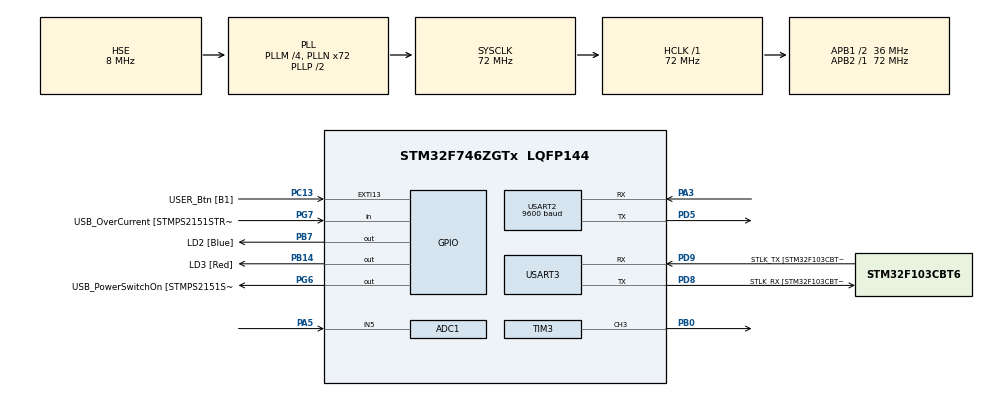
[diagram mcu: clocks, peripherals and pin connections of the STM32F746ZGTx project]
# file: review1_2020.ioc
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ADC1.Channel-1\#ChannelRegularConversion=ADC_CHANNEL_5
ADC1.DiscontinuousConvMode=ENABLE
ADC1.NbrOfConversionFlag=1
ADC1.Rank-1\#ChannelRegularConversion=1
ADC1.SamplingTime-1\#ChannelRegularConversion=ADC_SAMPLETIME_3CYCLES
ADC1.ScanConvMode=ADC_SCAN_ENABLE
ADC1.master=1
Mcu.Family=STM32F7
Mcu.Name=STM32F746ZGTx
Mcu.Package=LQFP144
NVIC.PriorityGroup=NVIC_PRIORITYGROUP_4
NVIC.TIM2_IRQn=true\:0\:0\:false\:false\:true\:true\:true
PA1.GPIO_Label=RMII_REF_CLK [LAN8742A-CZ-TR_REFCLK0]
PA1.Signal=ETH_REF_CLK
PA10.GPIO_Label=USB_ID
PA10.Signal=USB_OTG_FS_ID
PA11.GPIO_Label=USB_DM
PA11.Signal=USB_OTG_FS_DM
PA12.GPIO_Label=USB_DP
PA12.Signal=USB_OTG_FS_DP
PA13.GPIO_Label=TMS
PA13.Mode=Serial_Wire
PA13.Signal=SYS_JTMS-SWDIO
PA14.GPIO_Label=TCK
PA14.Mode=Serial_Wire
PA14.Signal=SYS_JTCK-SWCLK
PA2.GPIO_Label=RMII_MDIO [LAN8742A-CZ-TR_MDIO]
PA2.Signal=ETH_MDIO
PA3.Mode=Asynchronous
PA3.Signal=USART2_RX
PA5.Signal=ADCx_IN5
PA7.GPIO_Label=RMII_CRS_DV [LAN8742A-CZ-TR_CRS_DV]
PA7.Signal=ETH_CRS_DV
PA8.GPIO_Label=USB_SOF [TP1]
PA8.Signal=USB_OTG_FS_SOF
PA9.GPIO_Label=USB_VBUS
PA9.Signal=USB_OTG_FS_VBUS
PB0.Signal=S_TIM3_CH3
PB13.GPIO_Label=RMII_TXD1 [LAN8742A-CZ-TR_TXD1]
PB13.Signal=ETH_TXD1
PB14.GPIO_Label=LD3 [Red]
PB14.Signal=GPIO_Output
PB3.GPIO_Label=SW0
PB3.Signal=SYS_JTDO-SWO
PB7.GPIO_Label=LD2 [Blue]
PB7.Signal=GPIO_Output
PC1.GPIO_Label=RMII_MDC [LAN8742A-CZ-TR_MDC]
PC1.Signal=ETH_MDC
PC13.GPIO_Label=USER_Btn [B1]
PC13.Signal=GPXTI13
PC14/OSC32_IN.Mode=LSE-External-Oscillator
PC14/OSC32_IN.Signal=RCC_OSC32_IN
PC15/OSC32_OUT.Mode=LSE-External-Oscillator
PC15/OSC32_OUT.Signal=RCC_OSC32_OUT
PC4.GPIO_Label=RMII_RXD0 [LAN8742A-CZ-TR_RXD0]
PC4.Signal=ETH_RXD0
PC5.GPIO_Label=RMII_RXD1 [LAN8742A-CZ-TR_RXD1]
PC5.Signal=ETH_RXD1
PD5.Mode=Asynchronous
PD5.Signal=USART2_TX
PD8.GPIO_Label=STLK_RX [STM32F103CBT6_PA3]
PD8.Mode=Asynchronous
PD8.Signal=USART3_TX
PD9.GPIO_Label=STLK_TX [STM32F103CBT6_PA2]
PD9.Mode=Asynchronous
PD9.Signal=USART3_RX
PG11.GPIO_Label=RMII_TX_EN [LAN8742A-CZ-TR_TXEN]
PG11.Signal=ETH_TX_EN
PG13.GPIO_Label=RMII_TXD0 [LAN8742A-CZ-TR_TXD0]
PG13.Signal=ETH_TXD0
PG6.GPIO_Label=USB_PowerSwitchOn [STMPS2151STR_EN]
PG6.Signal=GPIO_Output
PG7.GPIO_Label=USB_OverCurrent [STMPS2151STR_FAULT]
PG7.Signal=GPIO_Input
PH0/OSC_IN.GPIO_Label=MCO [STM32F103CBT6_PA8]
PH0/OSC_IN.Mode=HSE-External-Clock-Source
PH0/OSC_IN.Signal=RCC_OSC_IN
PH1/OSC_OUT.Mode=HSE-External-Clock-Source
PH1/OSC_OUT.Signal=RCC_OSC_OUT
ProjectManager.HeapSize=0x200
ProjectManager.StackSize=0x400
ProjectManager.TargetToolchain=STM32CubeIDE
RCC.48MHZClocksFreq_Value=24000000
RCC.AHBFreq_Value=72000000
RCC.APB1CLKDivider=RCC_HCLK_DIV2
RCC.APB1Freq_Value=36000000
RCC.APB1TimFreq_Value=72000000
RCC.APB2Freq_Value=72000000
RCC.APB2TimFreq_Value=72000000
RCC.CortexFreq_Value=72000000
RCC.HCLKFreq_Value=72000000
RCC.HSE_VALUE=8000000
RCC.HSI_VALUE=16000000
RCC.PLLM=4
RCC.PLLMUL=RCC_PLL_MUL9
RCC.PLLN=72
RCC.PLLQ=3
RCC.PLLSourceVirtual=RCC_PLLSOURCE_HSE
RCC.PRESCALERUSB=RCC_USBCLKSOURCE_PLL_DIV1_5
RCC.SYSCLKFreq_VALUE=72000000
RCC.SYSCLKSource=RCC_SYSCLKSOURCE_PLLCLK
RCC.SYSCLKSourceVirtual=RCC_SYSCLKSOURCE_PLLCLK
RCC.USBFreq_Value=48000000
RCC.VCOOutputFreq_Value=144000000
SH.ADCx_IN5.0=ADC1_IN5,IN5
SH.S_TIM3_CH3.0=TIM3_CH3,PWM Generation3 CH3
TIM2.Period=99999
TIM2.Prescaler=71
TIM3.Channel-PWM\ Generation3\ CH3=TIM_CHANNEL_3
TIM3.Period=999
TIM3.Prescaler=71
USART2.BaudRate=9600
USART2.VirtualMode-Asynchronous=VM_ASYNC
USART3.VirtualMode-Asynchronous=VM_ASYNC
VP_TIM2_VS_ClockSourceINT.Mode=Internal
board=NUCLEO-F746ZG

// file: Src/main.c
/* USER CODE BEGIN Header */
/**
  ******************************************************************************
  * @file           : main.c
  * @brief          : Main program body
  ******************************************************************************
  * @attention
  *
  * <h2><center>&copy; Copyright (c) 2020 STMicroelectronics.
  * All rights reserved.</center></h2>
  *
  * This software component is licensed by ST under BSD 3-Clause license,
  * the "License"; You may not use this file except in compliance with the
  * License. You may obtain a copy of the License at:
  *                        opensource.org/licenses/BSD-3-Clause
  *
  ******************************************************************************
  */
/* USER CODE END Header */
#include "main.h"

ADC_HandleTypeDef hadc1;

TIM_HandleTypeDef htim2;
TIM_HandleTypeDef htim3;

UART_HandleTypeDef huart2;
UART_HandleTypeDef huart3;

void SystemClock_Config(void);
static void MX_GPIO_Init(void);
static void MX_ADC1_Init(void);
static void MX_TIM2_Init(void);
static void MX_TIM3_Init(void);
static void MX_USART2_UART_Init(void);
static void MX_USART3_UART_Init(void);

/* USER CODE BEGIN 0 */
volatile unsigned int timeout_time = 0U;

void timeout_decrease() {
  if (timeout_time>0) timeout_time--;
}

void timeout_reset() {
  timeout_time = 1000U;
}

unsigned int timeout_expired() {
    return( timeout_time==0 );
}
/* USER CODE END 0 */

int main(void)
{

  /* MCU Configuration--------------------------------------------------------*/

  /* Reset of all peripherals, Initializes the Flash interface and the Systick. */
  HAL_Init();

  /* Configure the system clock */
  SystemClock_Config();

  /* Initialize all configured peripherals */
  MX_GPIO_Init();
  MX_ADC1_Init();
  MX_TIM2_Init();
  MX_TIM3_Init();
  MX_USART2_UART_Init();
  MX_USART3_UART_Init();
  /* USER CODE BEGIN 2 */
  HAL_TIM_Base_Start_IT(&htim2);
  HAL_TIM_PWM_Start(&htim3, TIM_CHANNEL_3);

  /* USER CODE END 2 */

  /* Infinite loop */
  while (1)
  {

    /* USER CODE BEGIN 3 */
    HAL_ADC_Start(&hadc1);
    HAL_ADC_PollForConversion(&hadc1, 10);
    uint32_t adc_raw = HAL_ADC_GetValue(&hadc1);
    uint32_t pwm_out = (adc_raw * 255U) / 4095U;
    unsigned char buffer[2];
    buffer[0] = (uint8_t)pwm_out;
    HAL_UART_Transmit(&huart2, buffer, 1, 1);
    // TIM3->CCR3 = (adc_raw * 1000U) / 4095U;                         /* testing local control of PWM rate */
    // TIM3->CCR3 = ( ((uint32_t)buffer[0]) * 1000U) / 255U;            /* testing one byte scaling of PWM rate */
    HAL_StatusTypeDef recv_status = HAL_UART_Receive(&huart2, buffer, 1, 1);
    if ( recv_status == HAL_OK ) {
        TIM3->CCR3 = ( ((uint32_t)buffer[0]) * 1000U) / 255U;  /* Setting PWM rate based on the received data */
        timeout_reset();
    } else /* not received or received with an error */ {
        if ( timeout_expired() ) {
            TIM3->CCR3 = 0;
        }
    }

  }
  /* USER CODE END 3 */
}

void SystemClock_Config(void)
{
  RCC_OscInitTypeDef RCC_OscInitStruct = {0};
  RCC_ClkInitTypeDef RCC_ClkInitStruct = {0};

  /** Configure LSE Drive Capability
  */
  HAL_PWR_EnableBkUpAccess();
  /** Configure the main internal regulator output voltage
  */
  __HAL_RCC_PWR_CLK_ENABLE();
  __HAL_PWR_VOLTAGESCALING_CONFIG(PWR_REGULATOR_VOLTAGE_SCALE3);
  /** Initializes the RCC Oscillators according to the specified parameters
  * in the RCC_OscInitTypeDef structure.
  */
  RCC_OscInitStruct.OscillatorType = RCC_OSCILLATORTYPE_HSE;
  RCC_OscInitStruct.HSEState = RCC_HSE_BYPASS;
  RCC_OscInitStruct.PLL.PLLState = RCC_PLL_ON;
  RCC_OscInitStruct.PLL.PLLSource = RCC_PLLSOURCE_HSE;
  RCC_OscInitStruct.PLL.PLLM = 4;
  RCC_OscInitStruct.PLL.PLLN = 72;
  RCC_OscInitStruct.PLL.PLLP = RCC_PLLP_DIV2;
  RCC_OscInitStruct.PLL.PLLQ = 3;
  if (HAL_RCC_OscConfig(&RCC_OscInitStruct) != HAL_OK)
  {
    Error_Handler();
  }
  /** Initializes the CPU, AHB and APB buses clocks
  */
  RCC_ClkInitStruct.ClockType = RCC_CLOCKTYPE_HCLK|RCC_CLOCKTYPE_SYSCLK
                              |RCC_CLOCKTYPE_PCLK1|RCC_CLOCKTYPE_PCLK2;
  RCC_ClkInitStruct.SYSCLKSource = RCC_SYSCLKSOURCE_PLLCLK;
  RCC_ClkInitStruct.AHBCLKDivider = RCC_SYSCLK_DIV1;
  RCC_ClkInitStruct.APB1CLKDivider = RCC_HCLK_DIV2;
  RCC_ClkInitStruct.APB2CLKDivider = RCC_HCLK_DIV1;

  if (HAL_RCC_ClockConfig(&RCC_ClkInitStruct, FLASH_LATENCY_2) != HAL_OK)
  {
    Error_Handler();
  }
}

static void MX_ADC1_Init(void)
{

  ADC_ChannelConfTypeDef sConfig = {0};

  /** Configure the global features of the ADC (Clock, Resolution, Data Alignment and number of conversion)
  */
  hadc1.Instance = ADC1;
  hadc1.Init.ClockPrescaler = ADC_CLOCK_SYNC_PCLK_DIV2;
  hadc1.Init.Resolution = ADC_RESOLUTION_12B;
  hadc1.Init.ScanConvMode = ADC_SCAN_ENABLE;
  hadc1.Init.ContinuousConvMode = DISABLE;
  hadc1.Init.DiscontinuousConvMode = ENABLE;
  hadc1.Init.NbrOfDiscConversion = 1;
  hadc1.Init.ExternalTrigConvEdge = ADC_EXTERNALTRIGCONVEDGE_NONE;
  hadc1.Init.ExternalTrigConv = ADC_SOFTWARE_START;
  hadc1.Init.DataAlign = ADC_DATAALIGN_RIGHT;
  hadc1.Init.NbrOfConversion = 1;
  hadc1.Init.DMAContinuousRequests = DISABLE;
  hadc1.Init.EOCSelection = ADC_EOC_SINGLE_CONV;
  if (HAL_ADC_Init(&hadc1) != HAL_OK)
  {
    Error_Handler();
  }
  /** Configure for the selected ADC regular channel its corresponding rank in the sequencer and its sample time.
  */
  sConfig.Channel = ADC_CHANNEL_5;
  sConfig.Rank = ADC_REGULAR_RANK_1;
  sConfig.SamplingTime = ADC_SAMPLETIME_3CYCLES;
  if (HAL_ADC_ConfigChannel(&hadc1, &sConfig) != HAL_OK)
  {
    Error_Handler();
  }

}

static void MX_TIM2_Init(void)
{

  TIM_ClockConfigTypeDef sClockSourceConfig = {0};
  TIM_MasterConfigTypeDef sMasterConfig = {0};

  htim2.Instance = TIM2;
  htim2.Init.Prescaler = 71;
  htim2.Init.CounterMode = TIM_COUNTERMODE_UP;
  htim2.Init.Period = 99999;
  htim2.Init.ClockDivision = TIM_CLOCKDIVISION_DIV1;
  htim2.Init.AutoReloadPreload = TIM_AUTORELOAD_PRELOAD_DISABLE;
  if (HAL_TIM_Base_Init(&htim2) != HAL_OK)
  {
    Error_Handler();
  }
  sClockSourceConfig.ClockSource = TIM_CLOCKSOURCE_INTERNAL;
  if (HAL_TIM_ConfigClockSource(&htim2, &sClockSourceConfig) != HAL_OK)
  {
    Error_Handler();
  }
  sMasterConfig.MasterOutputTrigger = TIM_TRGO_RESET;
  sMasterConfig.MasterSlaveMode = TIM_MASTERSLAVEMODE_DISABLE;
  if (HAL_TIMEx_MasterConfigSynchronization(&htim2, &sMasterConfig) != HAL_OK)
  {
    Error_Handler();
  }

}

static void MX_TIM3_Init(void)
{

  TIM_MasterConfigTypeDef sMasterConfig = {0};
  TIM_OC_InitTypeDef sConfigOC = {0};

  htim3.Instance = TIM3;
  htim3.Init.Prescaler = 71;
  htim3.Init.CounterMode = TIM_COUNTERMODE_UP;
  htim3.Init.Period = 999;
  htim3.Init.ClockDivision = TIM_CLOCKDIVISION_DIV1;
  htim3.Init.AutoReloadPreload = TIM_AUTORELOAD_PRELOAD_DISABLE;
  if (HAL_TIM_PWM_Init(&htim3) != HAL_OK)
  {
    Error_Handler();
  }
  sMasterConfig.MasterOutputTrigger = TIM_TRGO_RESET;
  sMasterConfig.MasterSlaveMode = TIM_MASTERSLAVEMODE_DISABLE;
  if (HAL_TIMEx_MasterConfigSynchronization(&htim3, &sMasterConfig) != HAL_OK)
  {
    Error_Handler();
  }
  sConfigOC.OCMode = TIM_OCMODE_PWM1;
  sConfigOC.Pulse = 0;
  sConfigOC.OCPolarity = TIM_OCPOLARITY_HIGH;
  sConfigOC.OCFastMode = TIM_OCFAST_DISABLE;
  if (HAL_TIM_PWM_ConfigChannel(&htim3, &sConfigOC, TIM_CHANNEL_3) != HAL_OK)
  {
    Error_Handler();
  }
  HAL_TIM_MspPostInit(&htim3);

}

static void MX_USART2_UART_Init(void)
{

  huart2.Instance = USART2;
  huart2.Init.BaudRate = 9600;
  huart2.Init.WordLength = UART_WORDLENGTH_8B;
  huart2.Init.StopBits = UART_STOPBITS_1;
  huart2.Init.Parity = UART_PARITY_NONE;
  huart2.Init.Mode = UART_MODE_TX_RX;
  huart2.Init.HwFlowCtl = UART_HWCONTROL_NONE;
  huart2.Init.OverSampling = UART_OVERSAMPLING_16;
  huart2.Init.OneBitSampling = UART_ONE_BIT_SAMPLE_DISABLE;
  huart2.AdvancedInit.AdvFeatureInit = UART_ADVFEATURE_NO_INIT;
  if (HAL_UART_Init(&huart2) != HAL_OK)
  {
    Error_Handler();
  }

}

static void MX_USART3_UART_Init(void)
{

  huart3.Instance = USART3;
  huart3.Init.BaudRate = 115200;
  huart3.Init.WordLength = UART_WORDLENGTH_8B;
  huart3.Init.StopBits = UART_STOPBITS_1;
  huart3.Init.Parity = UART_PARITY_NONE;
  huart3.Init.Mode = UART_MODE_TX_RX;
  huart3.Init.HwFlowCtl = UART_HWCONTROL_NONE;
  huart3.Init.OverSampling = UART_OVERSAMPLING_16;
  huart3.Init.OneBitSampling = UART_ONE_BIT_SAMPLE_DISABLE;
  huart3.AdvancedInit.AdvFeatureInit = UART_ADVFEATURE_NO_INIT;
  if (HAL_UART_Init(&huart3) != HAL_OK)
  {
    Error_Handler();
  }

}

static void MX_GPIO_Init(void)
{
  GPIO_InitTypeDef GPIO_InitStruct = {0};

  /* GPIO Ports Clock Enable */
  __HAL_RCC_GPIOC_CLK_ENABLE();
  __HAL_RCC_GPIOH_CLK_ENABLE();
  __HAL_RCC_GPIOA_CLK_ENABLE();
  __HAL_RCC_GPIOB_CLK_ENABLE();
  __HAL_RCC_GPIOD_CLK_ENABLE();
  __HAL_RCC_GPIOG_CLK_ENABLE();

  /*Configure GPIO pin Output Level */
  HAL_GPIO_WritePin(GPIOB, LD3_Pin|LD2_Pin, GPIO_PIN_RESET);

  /*Configure GPIO pin Output Level */
  HAL_GPIO_WritePin(USB_PowerSwitchOn_GPIO_Port, USB_PowerSwitchOn_Pin, GPIO_PIN_RESET);

  /*Configure GPIO pin : USER_Btn_Pin */
  GPIO_InitStruct.Pin = USER_Btn_Pin;
  GPIO_InitStruct.Mode = GPIO_MODE_IT_RISING;
  GPIO_InitStruct.Pull = GPIO_NOPULL;
  HAL_GPIO_Init(USER_Btn_GPIO_Port, &GPIO_InitStruct);

  /*Configure GPIO pins : RMII_MDC_Pin RMII_RXD0_Pin RMII_RXD1_Pin */
  GPIO_InitStruct.Pin = RMII_MDC_Pin|RMII_RXD0_Pin|RMII_RXD1_Pin;
  GPIO_InitStruct.Mode = GPIO_MODE_AF_PP;
  GPIO_InitStruct.Pull = GPIO_NOPULL;
  GPIO_InitStruct.Speed = GPIO_SPEED_FREQ_VERY_HIGH;
  GPIO_InitStruct.Alternate = GPIO_AF11_ETH;
  HAL_GPIO_Init(GPIOC, &GPIO_InitStruct);

  /*Configure GPIO pins : RMII_REF_CLK_Pin RMII_MDIO_Pin RMII_CRS_DV_Pin */
  GPIO_InitStruct.Pin = RMII_REF_CLK_Pin|RMII_MDIO_Pin|RMII_CRS_DV_Pin;
  GPIO_InitStruct.Mode = GPIO_MODE_AF_PP;
  GPIO_InitStruct.Pull = GPIO_NOPULL;
  GPIO_InitStruct.Speed = GPIO_SPEED_FREQ_VERY_HIGH;
  GPIO_InitStruct.Alternate = GPIO_AF11_ETH;
  HAL_GPIO_Init(GPIOA, &GPIO_InitStruct);

  /*Configure GPIO pin : RMII_TXD1_Pin */
  GPIO_InitStruct.Pin = RMII_TXD1_Pin;
  GPIO_InitStruct.Mode = GPIO_MODE_AF_PP;
  GPIO_InitStruct.Pull = GPIO_NOPULL;
  GPIO_InitStruct.Speed = GPIO_SPEED_FREQ_VERY_HIGH;
  GPIO_InitStruct.Alternate = GPIO_AF11_ETH;
  HAL_GPIO_Init(RMII_TXD1_GPIO_Port, &GPIO_InitStruct);

  /*Configure GPIO pins : LD3_Pin LD2_Pin */
  GPIO_InitStruct.Pin = LD3_Pin|LD2_Pin;
  GPIO_InitStruct.Mode = GPIO_MODE_OUTPUT_PP;
  GPIO_InitStruct.Pull = GPIO_NOPULL;
  GPIO_InitStruct.Speed = GPIO_SPEED_FREQ_LOW;
  HAL_GPIO_Init(GPIOB, &GPIO_InitStruct);

  /*Configure GPIO pin : USB_PowerSwitchOn_Pin */
  GPIO_InitStruct.Pin = USB_PowerSwitchOn_Pin;
  GPIO_InitStruct.Mode = GPIO_MODE_OUTPUT_PP;
  GPIO_InitStruct.Pull = GPIO_NOPULL;
  GPIO_InitStruct.Speed = GPIO_SPEED_FREQ_LOW;
  HAL_GPIO_Init(USB_PowerSwitchOn_GPIO_Port, &GPIO_InitStruct);

  /*Configure GPIO pin : USB_OverCurrent_Pin */
  GPIO_InitStruct.Pin = USB_OverCurrent_Pin;
  GPIO_InitStruct.Mode = GPIO_MODE_INPUT;
  GPIO_InitStruct.Pull = GPIO_NOPULL;
  HAL_GPIO_Init(USB_OverCurrent_GPIO_Port, &GPIO_InitStruct);

  /*Configure GPIO pins : USB_SOF_Pin USB_ID_Pin USB_DM_Pin USB_DP_Pin */
  GPIO_InitStruct.Pin = USB_SOF_Pin|USB_ID_Pin|USB_DM_Pin|USB_DP_Pin;
  GPIO_InitStruct.Mode = GPIO_MODE_AF_PP;
  GPIO_InitStruct.Pull = GPIO_NOPULL;
  GPIO_InitStruct.Speed = GPIO_SPEED_FREQ_VERY_HIGH;
  GPIO_InitStruct.Alternate = GPIO_AF10_OTG_FS;
  HAL_GPIO_Init(GPIOA, &GPIO_InitStruct);

  /*Configure GPIO pin : USB_VBUS_Pin */
  GPIO_InitStruct.Pin = USB_VBUS_Pin;
  GPIO_InitStruct.Mode = GPIO_MODE_INPUT;
  GPIO_InitStruct.Pull = GPIO_NOPULL;
  HAL_GPIO_Init(USB_VBUS_GPIO_Port, &GPIO_InitStruct);

  /*Configure GPIO pins : RMII_TX_EN_Pin RMII_TXD0_Pin */
  GPIO_InitStruct.Pin = RMII_TX_EN_Pin|RMII_TXD0_Pin;
  GPIO_InitStruct.Mode = GPIO_MODE_AF_PP;
  GPIO_InitStruct.Pull = GPIO_NOPULL;
  GPIO_InitStruct.Speed = GPIO_SPEED_FREQ_VERY_HIGH;
  GPIO_InitStruct.Alternate = GPIO_AF11_ETH;
  HAL_GPIO_Init(GPIOG, &GPIO_InitStruct);

}

void Error_Handler(void)
{
}
